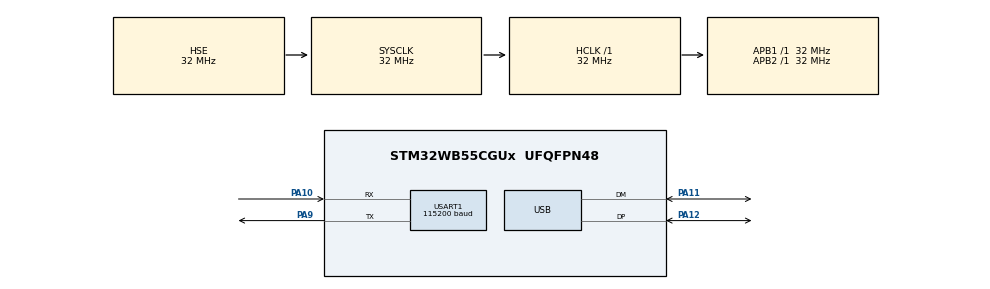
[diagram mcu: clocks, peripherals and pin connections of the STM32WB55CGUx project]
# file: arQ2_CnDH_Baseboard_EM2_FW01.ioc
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Mcu.Family=STM32WB
Mcu.Name=STM32WB55CGUx
Mcu.Package=UFQFPN48
NVIC.HSEM_IRQn=true\:0\:0\:false\:false\:true\:false\:true\:true
NVIC.IPCC_C1_RX_IRQn=true\:0\:0\:false\:false\:true\:true\:true\:true
NVIC.IPCC_C1_TX_IRQn=true\:0\:0\:false\:false\:true\:true\:true\:true
NVIC.PriorityGroup=NVIC_PRIORITYGROUP_4
NVIC.RCC_IRQn=true\:0\:0\:false\:false\:true\:true\:false\:true
NVIC.RTC_WKUP_IRQn=true\:0\:0\:false\:false\:true\:true\:true\:true
NVIC.TIM1_TRG_COM_TIM17_IRQn=true\:0\:0\:true\:false\:true\:true\:true\:true
NVIC.TIM1_UP_TIM16_IRQn=true\:0\:0\:false\:false\:true\:true\:true\:true
NVIC.USART1_IRQn=true\:0\:0\:true\:false\:true\:true\:true\:true
NVIC.USB_HP_IRQn=true\:0\:0\:false\:false\:true\:true\:true\:true
NVIC.USB_LP_IRQn=true\:0\:0\:false\:false\:true\:false\:true\:true
OSC_IN.Mode=HSE-External-Oscillator
OSC_IN.Signal=RCC_OSC_IN
OSC_OUT.Mode=HSE-External-Oscillator
OSC_OUT.Signal=RCC_OSC_OUT
PA10.Mode=Asynchronous
PA10.Signal=USART1_RX
PA11.Mode=Device
PA11.Signal=USB_DM
PA12.Mode=Device
PA12.Signal=USB_DP
PA13.Mode=Serial_Wire
PA13.Signal=SYS_JTMS-SWDIO
PA14.Mode=Serial_Wire
PA14.Signal=SYS_JTCK-SWCLK
PA9.Mode=Asynchronous
PA9.Signal=USART1_TX
PC14-OSC32_IN.Mode=LSE-External-Oscillator
PC14-OSC32_IN.Signal=RCC_OSC32_IN
PC15-OSC32_OUT.Mode=LSE-External-Oscillator
PC15-OSC32_OUT.Signal=RCC_OSC32_OUT
ProjectManager.HeapSize=0x200
ProjectManager.StackSize=0x400
ProjectManager.TargetToolchain=STM32CubeIDE
RCC.ADCFreq_Value=128000000
RCC.AHBFreq_Value=32000000
RCC.APB1Freq_Value=32000000
RCC.APB1TimFreq_Value=32000000
RCC.APB2Freq_Value=32000000
RCC.APB2TimFreq_Value=32000000
RCC.APB3Freq_Value=16000000
RCC.CK48CLockSelection=RCC_USBCLKSOURCE_HSI48
RCC.CSICalibrationValue=32
RCC.CortexFreq_Value=32000000
RCC.HCLKFreq_Value=32000000
RCC.HSE_VALUE=32000000
RCC.HSI48_VALUE=48000000
RCC.HSI_VALUE=16000000
RCC.PLL1_VCI_Range=RCC_PLL1VCIRANGE_3
RCC.PLL1_VCO_SEL=RCC_PLL1VCOWIDE
RCC.PLL2FRACN=0
RCC.PLL2_VCI_Range=RCC_PLL2VCIRANGE_3
RCC.PLL2_VCO_SEL=RCC_PLL2VCOWIDE
RCC.PLL3FRACN=0
RCC.PLL3_VCI_Range=RCC_PLL3VCIRANGE_3
RCC.PLL3_VCO_SEL=RCC_PLL3VCOWIDE
RCC.PLLFRACN=0
RCC.PLLSourceVirtual=RCC_PLLSOURCE_HSE
RCC.ProductRev=revV
RCC.RCC_TIM_PRescaler_Selection=RCC_TIMPRES_DESACTIVATED
RCC.SMPSCLockSelection=RCC_SMPSCLKSOURCE_HSE
RCC.SYSCLKFreq_VALUE=32000000
RCC.SYSCLKSource=RCC_SYSCLKSOURCE_HSE
RCC.USBFreq_Value=48000000
RCC.VCOOutputFreq_Value=256000000
RF1.Mode=RF1_Activate
RF1.Signal=RF_RF1
STM32_WPAN.AD_TYPE_COMPLETE_LOCAL_NAME=BBoard
STM32_WPAN.AD_TYPE_COMPLETE_LOCAL_NAME_LENGTH=7
STM32_WPAN.AD_TYPE_MANUFACTURER_DATA_1=31
STM32_WPAN.AD_TYPE_SHORTENED_LOCAL_NAME=BBd
STM32_WPAN.AD_TYPE_SHORTENED_LOCAL_NAME_LENGTH=4
STM32_WPAN.CFG_LSCLK_LSE=0
STM32_WPAN.CUSTOM_P2P_SERVER=Disabled
STM32_WPAN.CUSTOM_TEMPLATE=Enabled
STM32_WPAN.INCLUDE_AD_TYPE_COMPLETE_LOCAL_NAME=1
STM32_WPAN.INCLUDE_AD_TYPE_MANUFACTURER_SPECIFIC_DATA=1
STM32_WPAN.INCLUDE_AD_TYPE_SHORTENED_LOCAL_NAME=0
STM32_WPAN.INCLUDE_AD_TYPE_TX_POWER_LEVEL=0
STM32_WPAN.NUMBER_OF_SERVICES=1
STM32_WPAN.SERVICE1_CHAR1_GATT_NOTIFY_READ_REQ_AND_WAIT_FOR_APPL_RESP=\ 
STM32_WPAN.SERVICE1_CHAR1_GATT_NOTIFY_WRITE_REQ_AND_WAIT_FOR_APPL_RESP=\ 
STM32_WPAN.SERVICE1_CHAR1_LENGTH_CHARACTERISTIC=CHAR_VALUE_LEN_VARIABLE
STM32_WPAN.SERVICE1_CHAR1_LONG_NAME=TX
STM32_WPAN.SERVICE1_CHAR1_PROP_READ=CHAR_PROP_READ
STM32_WPAN.SERVICE1_CHAR1_PROP_WRITE_WITHOUT_RESP=CHAR_PROP_WRITE_WITHOUT_RESP
STM32_WPAN.SERVICE1_CHAR1_SHORT_NAME=TX
STM32_WPAN.SERVICE1_CHAR1_UUID=00 01
STM32_WPAN.SERVICE1_CHAR1_VALUE_LENGTH=1
STM32_WPAN.SERVICE1_CHAR2_GATT_NOTIFY_READ_REQ_AND_WAIT_FOR_APPL_RESP=\ 
STM32_WPAN.SERVICE1_CHAR2_GATT_NOTIFY_WRITE_REQ_AND_WAIT_FOR_APPL_RESP=\ 
STM32_WPAN.SERVICE1_CHAR2_LENGTH_CHARACTERISTIC=CHAR_VALUE_LEN_VARIABLE
STM32_WPAN.SERVICE1_CHAR2_LONG_NAME=RX
STM32_WPAN.SERVICE1_CHAR2_PROP_NOTIFY=CHAR_PROP_NOTIFY
STM32_WPAN.SERVICE1_CHAR2_PROP_READ=CHAR_PROP_READ
STM32_WPAN.SERVICE1_CHAR2_SHORT_NAME=RX
STM32_WPAN.SERVICE1_CHAR2_UUID=00 02
STM32_WPAN.SERVICE1_CHAR2_VALUE_LENGTH=1
STM32_WPAN.SERVICE1_LONG_NAME=SPP
STM32_WPAN.SERVICE1_NUMBER_OF_CHARACTERISTICS=2
STM32_WPAN.SERVICE1_SHORT_NAME=SPP
STM32_WPAN.SERVICE1_UUID=00 00
TIM16.Period=500-1
TIM16.Prescaler=32000-1
TIM17.Period=50 - 1
TIM17.Prescaler=32000 -1
USART1.BaudRate=115200
USART1.Mode=MODE_TX_RX
USART1.VirtualMode-Asynchronous=VM_ASYNC
USB_DEVICE.CLASS_NAME_FS=CDC
USB_DEVICE.VirtualMode=Cdc
USB_DEVICE.VirtualModeFS=Cdc_FS
VP_HSEM_VS_HSEM.Mode=HSEM_Activate
VP_IPCC_VS_IPCC.Mode=IPCC_Activate
VP_MEMORYMAP_VS_MEMORYMAP.Mode=CurAppReg
VP_RTC_VS_RTC_Activate.Mode=RTC_Enabled
VP_RTC_VS_RTC_WakeUp_intern.Mode=WakeUp
VP_SEQUENCER_VS_SEQUENCER.Mode=SEQUENCER_Enabled
VP_STM32_WPAN_VS_BLE_HOST.Mode=STM32_WPAN_Enabled
VP_TIM16_VS_ClockSourceINT.Mode=Enable_Timer
VP_TIM17_VS_ClockSourceINT.Mode=Enable_Timer
VP_TINY_LPM_VS_TINY_LPM.Mode=TINY_LPM_Enabled
VP_USB_DEVICE_VS_USB_DEVICE_CDC_FS.Mode=CDC_FS
board=custom

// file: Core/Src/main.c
/* USER CODE BEGIN Header */
/**
  ******************************************************************************
  * @file           : main.c
  * @brief          : Main program body
  ******************************************************************************
  * @attention
  *
  * Copyright (c) 2025 STMicroelectronics.
  * All rights reserved.
  *
  * This software is licensed under terms that can be found in the LICENSE file
  * in the root directory of this software component.
  * If no LICENSE file comes with this software, it is provided AS-IS.
  *
  ******************************************************************************
  */
/* USER CODE END Header */
#include "main.h"
#include "ipcc.h"
#include "rf.h"
#include "rtc.h"
#include "tim.h"
#include "usart.h"
#include "usb_device.h"
#include "gpio.h"

/* USER CODE BEGIN Includes */
#include "ARQ.h"
#include "StateMachine.h"
#include "DateTime.h"

#include "stdbool.h"
#include "string.h"
#include "Timer.h"
#include "usbd_cdc_if.h"

/* USER CODE END Includes */

void SystemClock_Config(void);
void PeriphCommonClock_Config(void);

int main(void)
{

  /* MCU Configuration--------------------------------------------------------*/

  /* Reset of all peripherals, Initializes the Flash interface and the Systick. */
  HAL_Init();
  /* Config code for STM32_WPAN (HSE Tuning must be done before system clock configuration) */
  MX_APPE_Config();

  /* Configure the system clock */
  SystemClock_Config();

  /* Configure the peripherals common clocks */
  PeriphCommonClock_Config();

  /* IPCC initialisation */
  MX_IPCC_Init();

  /* Initialize all configured peripherals */
  MX_GPIO_Init();
  MX_RTC_Init();
  MX_USB_Device_Init();
  MX_TIM17_Init();
  MX_USART1_UART_Init();
  MX_TIM16_Init();
  MX_RF_Init();
  /* USER CODE BEGIN 2 */

  Clear_UART_Buffer();
  HAL_UART_Receive_IT(&huart1, &UART_CHAR, 1);

  g_currentState = s_STRT;
  g_CurrentEvent = e_NONE;

  /* USER CODE END 2 */

  /* Init code for STM32_WPAN */
  MX_APPE_Init();

  /* Infinite loop */
  while (1){
    MX_APPE_Process();

    /* USER CODE BEGIN 3 */
	  //STM_StateManager(g_CurrentEvent);
  }
  /* USER CODE END 3 */
}

void SystemClock_Config(void)
{
  RCC_OscInitTypeDef RCC_OscInitStruct = {0};
  RCC_ClkInitTypeDef RCC_ClkInitStruct = {0};

  /** Configure the main internal regulator output voltage
  */
  __HAL_PWR_VOLTAGESCALING_CONFIG(PWR_REGULATOR_VOLTAGE_SCALE1);

  /** Initializes the RCC Oscillators according to the specified parameters
  * in the RCC_OscInitTypeDef structure.
  */
  RCC_OscInitStruct.OscillatorType = RCC_OSCILLATORTYPE_HSI48|RCC_OSCILLATORTYPE_HSI
                              |RCC_OSCILLATORTYPE_LSI1|RCC_OSCILLATORTYPE_HSE;
  RCC_OscInitStruct.HSEState = RCC_HSE_ON;
  RCC_OscInitStruct.HSIState = RCC_HSI_ON;
  RCC_OscInitStruct.HSI48State = RCC_HSI48_ON;
  RCC_OscInitStruct.HSICalibrationValue = RCC_HSICALIBRATION_DEFAULT;
  RCC_OscInitStruct.LSIState = RCC_LSI_ON;
  RCC_OscInitStruct.PLL.PLLState = RCC_PLL_NONE;
  if (HAL_RCC_OscConfig(&RCC_OscInitStruct) != HAL_OK)
  {
    Error_Handler();
  }

  /** Configure the SYSCLKSource, HCLK, PCLK1 and PCLK2 clocks dividers
  */
  RCC_ClkInitStruct.ClockType = RCC_CLOCKTYPE_HCLK4|RCC_CLOCKTYPE_HCLK2
                              |RCC_CLOCKTYPE_HCLK|RCC_CLOCKTYPE_SYSCLK
                              |RCC_CLOCKTYPE_PCLK1|RCC_CLOCKTYPE_PCLK2;
  RCC_ClkInitStruct.SYSCLKSource = RCC_SYSCLKSOURCE_HSE;
  RCC_ClkInitStruct.AHBCLKDivider = RCC_SYSCLK_DIV1;
  RCC_ClkInitStruct.APB1CLKDivider = RCC_HCLK_DIV1;
  RCC_ClkInitStruct.APB2CLKDivider = RCC_HCLK_DIV1;
  RCC_ClkInitStruct.AHBCLK2Divider = RCC_SYSCLK_DIV1;
  RCC_ClkInitStruct.AHBCLK4Divider = RCC_SYSCLK_DIV1;

  if (HAL_RCC_ClockConfig(&RCC_ClkInitStruct, FLASH_LATENCY_1) != HAL_OK)
  {
    Error_Handler();
  }
}

void PeriphCommonClock_Config(void)
{
  RCC_PeriphCLKInitTypeDef PeriphClkInitStruct = {0};

  /** Initializes the peripherals clock
  */
  PeriphClkInitStruct.PeriphClockSelection = RCC_PERIPHCLK_SMPS|RCC_PERIPHCLK_RFWAKEUP;
  PeriphClkInitStruct.RFWakeUpClockSelection = RCC_RFWKPCLKSOURCE_HSE_DIV1024;
  PeriphClkInitStruct.SmpsClockSelection = RCC_SMPSCLKSOURCE_HSE;
  PeriphClkInitStruct.SmpsDivSelection = RCC_SMPSCLKDIV_RANGE0;

  if (HAL_RCCEx_PeriphCLKConfig(&PeriphClkInitStruct) != HAL_OK)
  {
    Error_Handler();
  }
  /* USER CODE BEGIN Smps */
  LL_HSEM_1StepLock( HSEM, 5);
  /* USER CODE END Smps */
}

/* USER CODE BEGIN 4 */

void USB_CDC_RxHandler(uint8_t* Buf, uint32_t Len){
	strcpy((char *)USB_BUFFER, (char *)Buf);
	f_USB = true;
}

/* USER CODE END 4 */

void Error_Handler(void)
{
  __disable_irq();
  while (1)
  {
  }
}
